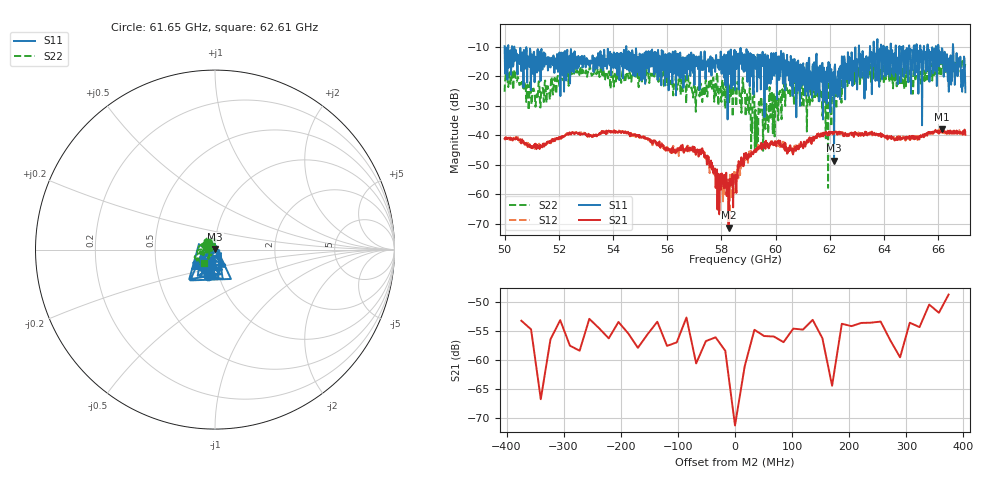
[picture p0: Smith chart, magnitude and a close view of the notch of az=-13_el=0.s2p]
!Created with skrf (http://scikit-rf.org).
# GHz S RI R 50.0
!freq ReS11 ImS11 ReS21 ImS21 ReS12 ImS12 ReS22 ImS22
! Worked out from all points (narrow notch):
!   1001 points, 50 GHz to 67 GHz, reference 50 ohm
!   highest |S21| = -37.95 dB at 66.13 GHz (marker M1); lowest = -71.3 dB at 58.26 GHz (marker M2)
!   notch at M2: 30.3 dB deep, 64 MHz wide at half that depth
!   lowest |S11| = -48.6 dB at 62.16 GHz (marker M3), VSWR 1.01, Z = 50.1 + j0.343 ohm
!   |S11| at or under -10 dB: 50.36 GHz to 54.49 GHz (4.13 GHz wide, 7.88 % of centre); 54.49 GHz to 63.07 GHz (8.582 GHz wide, 14.6 % of centre); 66 GHz to 66.54 GHz (533.8 MHz wide, 0.806 % of centre)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
!   |S22| runs from -57.8 to -14.0 dB; largest |S21 - S12| = 0.0022
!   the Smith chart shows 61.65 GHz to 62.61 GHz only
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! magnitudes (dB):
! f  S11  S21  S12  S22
! 50 GHz  -9.8  -41.2  -40.9  -25.2
! 50.42 GHz  -13.3  -40.6  -40.6  -21.7
! 51.38 GHz  -16.4  -43.5  -43.4  -24.7
! 52.84 GHz  -13.8  -39.5  -39.2  -19.7
! 55.68 GHz  -13.5  -43.4  -43.5  -21.9
! 57.26 GHz  -13.7  -44.8  -45.1  -24.0
! 57.85 GHz  -14.6  -65.2  -53.8  -20.0
! 58.26 GHz  -11.5  -71.3  -58.0  -23.1
! 58.5 GHz  -24.6  -53.6  -53.7  -24.2
! 58.86 GHz  -18.3  -47.5  -47.2  -24.5
! 59.32 GHz  -25.2  -44.8  -44.7  -33.4
! 60.64 GHz  -14.3  -46.5  -46.0  -22.5
! 61.34 GHz  -27.2  -40.8  -41.8  -25.7
! 61.88 GHz  -29.3  -39.0  -39.8  -23.0
! 62.16 GHz  -48.6  -39.2  -39.8  -28.2
! 63.01 GHz  -24.4  -39.6  -39.3  -20.1
! 64.18 GHz  -18.7  -40.3  -40.7  -18.9
! 65.42 GHz  -12.8  -40.4  -40.2  -21.0
! 66.13 GHz  -10.4  -37.9  -38.8  -14.8
! 66.42 GHz  -15.5  -39.2  -39.5  -16.3
! 66.75 GHz  -16.9  -38.8  -39.3  -18.3
! 67 GHz  -25.4  -39.8  -38.5  -15.6
